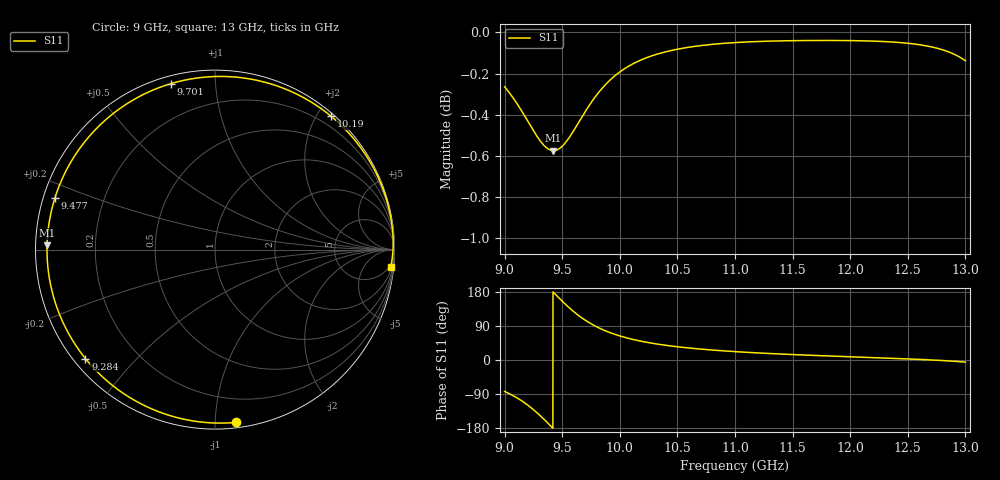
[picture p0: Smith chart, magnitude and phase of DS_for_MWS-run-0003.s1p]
! TOUCHSTONE file generated by CST DESIGN STUDIO
! Date and time: Tue Feb  4 13:15:58 2025
! Project name: C:\Work\MatlabApps\UnitCellOptimizationMatlab\CST\unitcell.cst
! Tree item: Tasks\Sweep1\SPara1\S-Parameters
! Header version: 2024
! Port assignment regex: !\s*Touchstone port\s*([0-9]+)\s*=\s*(CST MWS port|CST DES external port|CST DES block port)\s*(.+)\s* \(\"(.*)\"\)(\s*mode\s*([0-9]+))?.*
! Touchstone port assignment:
! Touchstone port 1 = CST DES external port 1 ("")
# GHz S MA R 50
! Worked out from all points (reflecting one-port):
!   4001 points, 9 GHz to 13 GHz, reference 50 ohm
!   lowest |S11| = -0.6 dB at 9.424 GHz (marker M1), VSWR 30.25, Z = 1.65 + j0.66 ohm
!   phase of S11 starts at -83 deg and turns -283 deg over the sweep
!   S11 on the Smith chart (normalised r, x): 9 GHz: 0.03, -1.13; 9.284 GHz: 0.03, -0.36; 9.477 GHz: 0.03, +0.16; 9.701 GHz: 0.04, +0.77; 10.19 GHz: 0.04, +2.19; 13 GHz: 3, -20
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9  0.97 -83.0
9.087  0.9628 -96.3
9.158  0.956 -109.7
9.222  0.9494 -124.0
9.284  0.9433 -139.9
9.358  0.9378 -161.3
9.391  0.9365 -171.3
9.424  0.936 178.5
9.477  0.9371 162.2
9.5  0.9383 155.3
9.551  0.942 140.6
9.599  0.9465 127.9
9.648  0.9514 116.1
9.701  0.9568 104.8
9.768  0.963 92.6
9.847  0.9693 80.7
9.921  0.974 71.6
10  0.9781 63.5
10.092  0.9818 55.9
10.194  0.985 49.0
10.334  0.9881 41.6
10.5  0.9906 34.9
10.723  0.9928 28.2
11  0.9943 22.1
11.5  0.9954 14.4
12  0.9954 8.6
12.5  0.9939 2.9
13  0.9843 -5.6
